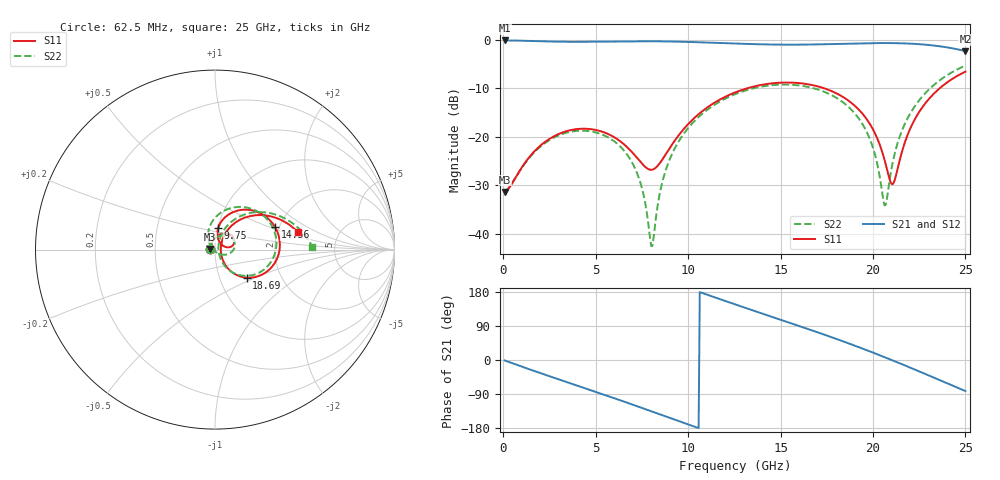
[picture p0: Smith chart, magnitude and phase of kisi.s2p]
! BV_ts_refinout2_q070f25s_e35: /TS-PCIe Components/REFINOUT2 via F.Cu→B.Cu at (204.176, 89.904)
! stackup: Thunderscope_Rev5.3 from the board file and its kisi.json
! ports: 1 in, 2 out
! kisi-fdtd, conformal, dfine 0.07 mm, 354825 cells
# Hz S RI R 50
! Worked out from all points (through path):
!   400 points, 62.5 MHz to 25 GHz, reference 50 ohm
!   highest |S21| = -0.12 dB at 62.5 MHz (marker M1); lowest = -2.3 dB at 25 GHz (marker M2)
!   group delay of S21, straight-line fit = 48.1 ps
!   lowest |S11| = -31.3 dB at 62.5 MHz (marker M3), VSWR 1.06, Z = 47.4 + j0.287 ohm
!   |S11| at or under -10 dB: start of sweep to 13.17 GHz; 17.38 GHz to 23.6 GHz (6.223 GHz wide, 30.4 % of centre)
!   |S22| runs from -42.5 to -5.3 dB; largest |S21 - S12| = 1.3e-06
!   S11 on the Smith chart (normalised r, x): 62.5 MHz: 0.95, +0.01; 9.75 GHz: 1.01, +0.24; 14.56 GHz: 1.90, +0.55; 18.69 GHz: 1.34, -0.44; 25 GHz: 2.58, +0.66
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6.25e7  -0.027 0.00303  0.9861 -0.019  0.9861 -0.019  -0.0276 0.00305
2.0625e9  0.0192 0.0811  0.7858 -0.5639  0.7858 -0.5639  0.024 0.0776
4.25e9  0.0991 0.0703  0.3025 -0.9063  0.3025 -0.9063  0.1057 0.048
5.75e9  0.1018 0.0271  -0.1092 -0.9562  -0.1092 -0.9562  0.0964 -0.00955
6.875e9  0.0714 0.0125  -0.4203 -0.8714  -0.4203 -0.8714  0.0507 -0.0287
7.5625e9  0.0475 0.0197  -0.5916 -0.7667  -0.5916 -0.7667  0.0165 -0.0204
8e9  0.0335 0.0313  -0.6876 -0.681  -0.6876 -0.681  -0.00376 -0.00648
8.375e9  0.0236 0.0453  -0.7597 -0.5975  -0.7597 -0.5975  -0.0186 0.0105
8.875e9  0.0151 0.0689  -0.839 -0.4739  -0.839 -0.4739  -0.0328 0.0393
9.75e9  0.0175 0.1189  -0.9263 -0.235  -0.9263 -0.235  -0.037 0.1008
1.25625e10  0.1849 0.2217  -0.7628 0.5077  -0.7628 0.5077  0.1418 0.2379
1.45625e10  0.3339 0.1265  -0.3561 0.8214  -0.3561 0.8214  0.3104 0.143
1.66875e10  0.336 -0.0695  0.1801 0.8779  0.1801 0.8779  0.3144 -0.0647
1.86875e10  0.176 -0.1562  0.6611 0.6329  0.6611 0.6329  0.1431 -0.1435
1.9875e10  0.0751 -0.1081  0.8589 0.345  0.8589 0.345  0.0453 -0.0782
2.025e10  0.0531 -0.0783  0.8967 0.2362  0.8967 0.2362  0.0278 -0.0424
2.0625e10  0.0385 -0.0433  0.9197 0.1215  0.9198 0.1215  0.0196 -0.0019
2.0875e10  0.0335 -0.0178  0.9263 0.0428  0.9263 0.0428  0.02 0.0267
2.1125e10  0.0327 0.00872  0.9253 -0.0368  0.9253 -0.0368  0.0255 0.0558
2.21875e10  0.0787 0.1192  0.8346 -0.3656  0.8346 -0.3656  0.106 0.1663
2.36875e10  0.2642 0.192  0.4939 -0.6983  0.4939 -0.6983  0.3421 0.1937
2.5e10  0.4598 0.0988  0.1078 -0.7585  0.1078 -0.7585  0.542 0.0164
